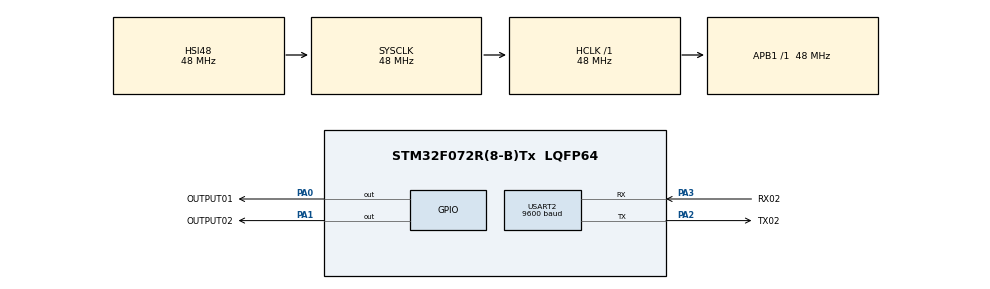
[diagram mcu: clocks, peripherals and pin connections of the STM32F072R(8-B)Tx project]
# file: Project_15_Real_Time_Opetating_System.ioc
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FREERTOS.Tasks01=defaultTask,0,128,StartDefaultTask,Default,NULL,Dynamic,NULL,NULL;Task02,-3,128,Task02_init,Default,NULL,Dynamic,NULL,NULL
FREERTOS.configUSE_NEWLIB_REENTRANT=1
Mcu.Family=STM32F0
Mcu.Name=STM32F072R(8-B)Tx
Mcu.Package=LQFP64
NVIC.TIM1_BRK_UP_TRG_COM_IRQn=true\:3\:0\:false\:false\:true\:false\:false\:true\:true
NVIC.TimeBase=TIM1_BRK_UP_TRG_COM_IRQn
NVIC.TimeBaseIP=TIM1
NVIC.USART2_IRQn=true\:3\:0\:false\:false\:true\:true\:true\:true\:true
PA0.GPIO_Label=OUTPUT01
PA0.Signal=GPIO_Output
PA1.GPIO_Label=OUTPUT02
PA1.Signal=GPIO_Output
PA2.GPIO_Label=TX02
PA2.Mode=Asynchronous
PA2.Signal=USART2_TX
PA3.GPIO_Label=RX02
PA3.Mode=Asynchronous
PA3.Signal=USART2_RX
PF0-OSC_IN.Mode=HSE-External-Oscillator
PF0-OSC_IN.Signal=RCC_OSC_IN
PF1-OSC_OUT.Mode=HSE-External-Oscillator
PF1-OSC_OUT.Signal=RCC_OSC_OUT
ProjectManager.HeapSize=0x200
ProjectManager.StackSize=0x400
ProjectManager.TargetToolchain=STM32CubeIDE
RCC.AHBFreq_Value=48000000
RCC.APB1Freq_Value=48000000
RCC.APB1TimFreq_Value=48000000
RCC.HCLKFreq_Value=48000000
RCC.PLLSourceVirtual=RCC_PLLSOURCE_HSE
RCC.SYSCLKFreq_VALUE=48000000
RCC.SYSCLKSource=RCC_SYSCLKSOURCE_HSI48
USART2.BaudRate=9600
USART2.VirtualMode-Asynchronous=VM_ASYNC
VP_FREERTOS_VS_CMSIS_V1.Mode=CMSIS_V1
VP_SYS_VS_tim1.Mode=TIM1
board=custom

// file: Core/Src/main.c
/* USER CODE BEGIN Header */
/**
  ******************************************************************************
  * @file           : main.c
  * @brief          : Main program body
  ******************************************************************************
  * @attention
  *
  * Copyright (c) 2022 STMicroelectronics.
  * All rights reserved.
  *
  * This software is licensed under terms that can be found in the LICENSE file
  * in the root directory of this software component.
  * If no LICENSE file comes with this software, it is provided AS-IS.
  *
  ******************************************************************************
  */
/* USER CODE END Header */
#include "main.h"
#include "cmsis_os.h"

UART_HandleTypeDef huart2;

osThreadId defaultTaskHandle;
osThreadId Task02Handle;
/* USER CODE BEGIN PV */

osThreadId Task03Handle;

/* USER CODE END PV */

void SystemClock_Config(void);
static void MX_GPIO_Init(void);
static void MX_USART2_UART_Init(void);
void StartDefaultTask(void const * argument);
void Task02_init(void const * argument);

/* USER CODE BEGIN PFP */

void Task03_init (void const * argument);

/* USER CODE END PFP */

/* USER CODE BEGIN 0 */

void send_task01 (void)
{

	uint8_t data[] = "Task_01 rum\n";
	HAL_UART_Transmit(&huart2,data,sizeof(data),500);
	HAL_Delay(500);

}

void send_task02 (void)
{

	uint8_t data[] = "Task_02 rum\n";
	HAL_UART_Transmit(&huart2,data,sizeof(data),500);
	HAL_Delay(500);

}

void send_task03 (void)
{

	uint8_t data[] = "Task_03 rum\n";
	HAL_UART_Transmit(&huart2,data,sizeof(data),500);
	HAL_Delay(500);

}

/* USER CODE END 0 */

int main(void)
{

  /* MCU Configuration--------------------------------------------------------*/

  /* Reset of all peripherals, Initializes the Flash interface and the Systick. */
  HAL_Init();

  /* Configure the system clock */
  SystemClock_Config();

  /* Initialize all configured peripherals */
  MX_GPIO_Init();
  MX_USART2_UART_Init();

  /* Create the thread(s) */
  /* definition and creation of defaultTask */
  osThreadDef(defaultTask, StartDefaultTask,  osPriorityAboveNormal, 0, 128);
  defaultTaskHandle = osThreadCreate(osThread(defaultTask), NULL);

  /* definition and creation of Task02 */
  osThreadDef(Task02, Task02_init, osPriorityNormal, 0, 128);
  Task02Handle = osThreadCreate(osThread(Task02), NULL);

  /* USER CODE BEGIN RTOS_THREADS */

  /* add threads, ... */

  osThreadDef(Task03,Task03_init, osPriorityBelowNormal,0,128);
  Task03Handle = osThreadCreate(osThread(Task03),NULL);

  /* USER CODE END RTOS_THREADS */

  /* Start scheduler */
  osKernelStart();

  /* We should never get here as control is now taken by the scheduler */
  /* Infinite loop */
  while (1)
  {

  }
}

void SystemClock_Config(void)
{
  RCC_OscInitTypeDef RCC_OscInitStruct = {0};
  RCC_ClkInitTypeDef RCC_ClkInitStruct = {0};
  RCC_PeriphCLKInitTypeDef PeriphClkInit = {0};

  /** Initializes the RCC Oscillators according to the specified parameters
  * in the RCC_OscInitTypeDef structure.
  */
  RCC_OscInitStruct.OscillatorType = RCC_OSCILLATORTYPE_HSI48;
  RCC_OscInitStruct.HSI48State = RCC_HSI48_ON;
  RCC_OscInitStruct.PLL.PLLState = RCC_PLL_NONE;
  if (HAL_RCC_OscConfig(&RCC_OscInitStruct) != HAL_OK)
  {
    Error_Handler();
  }

  /** Initializes the CPU, AHB and APB buses clocks
  */
  RCC_ClkInitStruct.ClockType = RCC_CLOCKTYPE_HCLK|RCC_CLOCKTYPE_SYSCLK
                              |RCC_CLOCKTYPE_PCLK1;
  RCC_ClkInitStruct.SYSCLKSource = RCC_SYSCLKSOURCE_HSI48;
  RCC_ClkInitStruct.AHBCLKDivider = RCC_SYSCLK_DIV1;
  RCC_ClkInitStruct.APB1CLKDivider = RCC_HCLK_DIV1;

  if (HAL_RCC_ClockConfig(&RCC_ClkInitStruct, FLASH_LATENCY_1) != HAL_OK)
  {
    Error_Handler();
  }
  PeriphClkInit.PeriphClockSelection = RCC_PERIPHCLK_USART2;
  PeriphClkInit.Usart2ClockSelection = RCC_USART2CLKSOURCE_PCLK1;
  if (HAL_RCCEx_PeriphCLKConfig(&PeriphClkInit) != HAL_OK)
  {
    Error_Handler();
  }
}

static void MX_USART2_UART_Init(void)
{

  huart2.Instance = USART2;
  huart2.Init.BaudRate = 9600;
  huart2.Init.WordLength = UART_WORDLENGTH_8B;
  huart2.Init.StopBits = UART_STOPBITS_1;
  huart2.Init.Parity = UART_PARITY_NONE;
  huart2.Init.Mode = UART_MODE_TX_RX;
  huart2.Init.HwFlowCtl = UART_HWCONTROL_NONE;
  huart2.Init.OverSampling = UART_OVERSAMPLING_16;
  huart2.Init.OneBitSampling = UART_ONE_BIT_SAMPLE_DISABLE;
  huart2.AdvancedInit.AdvFeatureInit = UART_ADVFEATURE_NO_INIT;
  if (HAL_UART_Init(&huart2) != HAL_OK)
  {
    Error_Handler();
  }

}

static void MX_GPIO_Init(void)
{
  GPIO_InitTypeDef GPIO_InitStruct = {0};

  /* GPIO Ports Clock Enable */
  __HAL_RCC_GPIOF_CLK_ENABLE();
  __HAL_RCC_GPIOA_CLK_ENABLE();

  /*Configure GPIO pin Output Level */
  HAL_GPIO_WritePin(GPIOA, OUTPUT01_Pin|OUTPUT02_Pin, GPIO_PIN_RESET);

  /*Configure GPIO pins : OUTPUT01_Pin OUTPUT02_Pin */
  GPIO_InitStruct.Pin = OUTPUT01_Pin|OUTPUT02_Pin;
  GPIO_InitStruct.Mode = GPIO_MODE_OUTPUT_PP;
  GPIO_InitStruct.Pull = GPIO_NOPULL;
  GPIO_InitStruct.Speed = GPIO_SPEED_FREQ_LOW;
  HAL_GPIO_Init(GPIOA, &GPIO_InitStruct);

}

void StartDefaultTask(void const * argument)
{
  /* USER CODE BEGIN 5 */
  /* Infinite loop */
  for(;;)
  {

	send_task01();
	HAL_GPIO_TogglePin(GPIOA, GPIO_PIN_0);
    osDelay(1000);
  }
  /* USER CODE END 5 */
}

void Task02_init(void const * argument)
{
  /* USER CODE BEGIN Task02_init */
  /* Infinite loop */
  for(;;)
  {

	send_task02();
	HAL_GPIO_TogglePin(GPIOA, GPIO_PIN_1);
    osDelay(1000);
  }
  /* USER CODE END Task02_init */
}

void Task03_init(void const * argument)
{
  /* USER CODE BEGIN Task02_init */
  /* Infinite loop */
  while(1)
  {

	  send_task03();
	  osDelay(1000);

  }
  /* USER CODE END Task02_init */
}

void HAL_TIM_PeriodElapsedCallback(TIM_HandleTypeDef *htim)
{
  if (htim->Instance == TIM1) {
    HAL_IncTick();
  }
}

void Error_Handler(void)
{
  __disable_irq();
  while (1)
  {
  }
}
